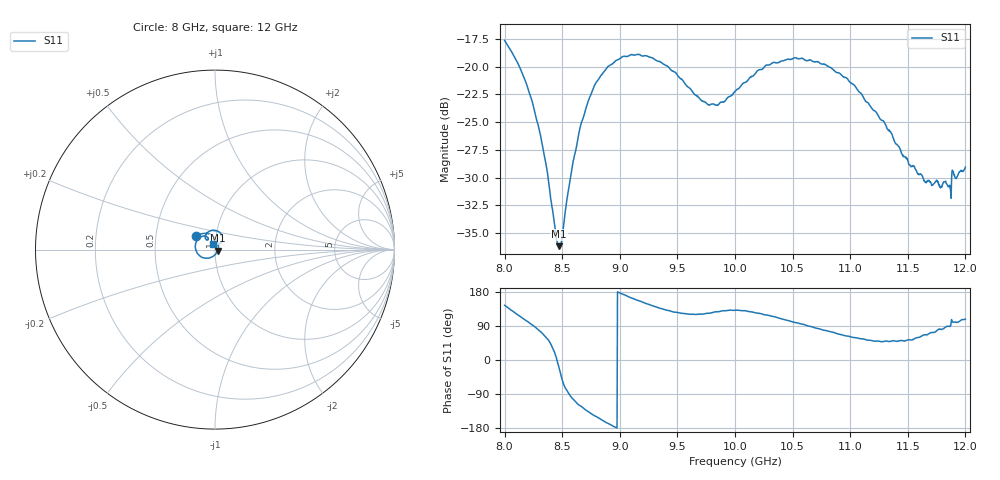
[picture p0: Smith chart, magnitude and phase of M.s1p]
!Keysight Technologies,N5224A,MY56042273,A.10.60.03
!Date: Wednesday, June 05, 2024 12:13:09
!Correction: S11(Full 1 Port(1))
!S1P File: Measurement: S11:
# Hz S  RI  R 50
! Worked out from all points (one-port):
!   1001 points, 8 GHz to 12 GHz, reference 50 ohm
!   lowest |S11| = -36.2 dB at 8.472 GHz (marker M1), VSWR 1.03, Z = 51.5 - j0.56 ohm
!   |S11| at or under -10 dB: start of sweep to end of sweep
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8e9  -0.1065 0.0766
8.128e9  -0.0444 0.0898
8.244e9  -0.00224 0.0682
8.34e9  0.0165 0.0374
8.444e9  0.0173 0.00338
8.472e9  0.0146 -0.00544
8.5e9  0.0106 -0.0138
8.592e9  -0.00781 -0.0358
8.656e9  -0.0275 -0.0458
8.72e9  -0.0485 -0.0482
8.844e9  -0.0855 -0.0336
9e9  -0.1084 0.0055
9.24e9  -0.0945 0.0592
9.5e9  -0.0533 0.0746
9.772e9  -0.0369 0.0562
9.848e9  -0.0409 0.0534
1e10  -0.0511 0.0582
1.0272e10  -0.0491 0.0889
1.05e10  -0.0197 0.1068
1.0784e10  0.0214 0.1
1.1e10  0.0406 0.0747
1.1292e10  0.0371 0.0427
1.15e10  0.0226 0.0302
1.1652e10  0.0121 0.0275
1.1824e10  0.00201 0.0302
1.1856e10  0.000417 0.0287
1.19e10  -0.00579 0.032
1.2e10  -0.0108 0.0336
